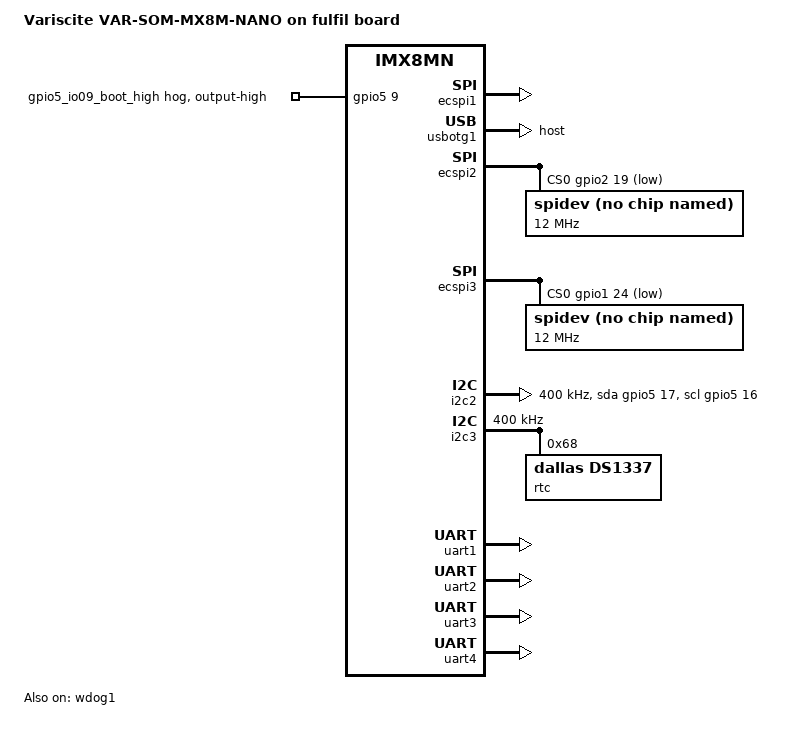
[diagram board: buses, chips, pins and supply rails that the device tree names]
/dts-v1/;

#include <dt-bindings/usb/pd.h>
#include "imx8mn-var-som.dtsi"

/ {
	model = "Variscite VAR-SOM-MX8M-NANO on fulfil board";
	compatible = "variscite,var-som-mx8mn", "fsl,imx8mn";

	imx8mn-cm7 {
		compatible = "fsl,imx8mn-cm7";
		rsc-da = <0x40000000>;
		mbox-names = "tx", "rx", "rxdb";
		mboxes = <&mu 0 1
				&mu 1 1
			  	&mu 3 1>;
		memory-region = <&vdev0vring0>, <&vdev0vring1>, <&vdevbuffer>, <&m_core_reserved>;
		status = "okay";
	};
	
	reserved-memory {
		m_core_reserved: m_core@0x7e000000 {
			no-map;
			reg = <0 0x7e000000 0 0x1000000>;
		};

		vdev0vring0: vdev0vring0@40000000 {
			compatible = "shared-dma-pool";
			reg = <0 0x40000000 0 0x8000>;
			no-map;
		};

		vdev0vring1: vdev0vring1@40008000 {
			compatible = "shared-dma-pool";
			reg = <0 0x40008000 0 0x8000>;
			no-map;
		};
		vdevbuffer: vdevbuffer@0x40400000 {
			compatible = "shared-dma-pool";
			reg = <0 0x40400000 0 0x100000>;
			no-map;
		};
	};
};

&iomuxc {
	pinctrl-0 = <&pinctrl_hog>;
	
	pinctrl_hog: hoggrp {
		fsl,pins = <
			MX8MN_IOMUXC_GPIO1_IO01_GPIO1_IO1		0x14
			MX8MN_IOMUXC_GPIO1_IO03_GPIO1_IO3 		0x14
			MX8MN_IOMUXC_GPIO1_IO06_GPIO1_IO6		0x14
			MX8MN_IOMUXC_GPIO1_IO07_GPIO1_IO7		0x14
			MX8MN_IOMUXC_GPIO1_IO08_GPIO1_IO8		0x14
			MX8MN_IOMUXC_GPIO1_IO10_GPIO1_IO10		0x14
			MX8MN_IOMUXC_GPIO1_IO11_GPIO1_IO11		0x14
			MX8MN_IOMUXC_GPIO1_IO12_GPIO1_IO12		0x14
			MX8MN_IOMUXC_GPIO1_IO14_GPIO1_IO14	 	0x14
			MX8MN_IOMUXC_GPIO1_IO15_GPIO1_IO15		0x14
			MX8MN_IOMUXC_SD2_DATA0_GPIO2_IO15		0x14
			MX8MN_IOMUXC_SD2_DATA1_GPIO2_IO16		0x14
			MX8MN_IOMUXC_SD2_DATA2_GPIO2_IO17		0x14
			MX8MN_IOMUXC_SAI5_RXFS_GPIO3_IO19		0x14
			MX8MN_IOMUXC_SAI5_RXC_GPIO3_IO20		0x14
			MX8MN_IOMUXC_SAI5_RXD0_GPIO3_IO21		0x14
			MX8MN_IOMUXC_SAI5_RXD1_GPIO3_IO22		0x14
			MX8MN_IOMUXC_SAI5_RXD2_GPIO3_IO23		0x14
			MX8MN_IOMUXC_SAI5_RXD3_GPIO3_IO24		0x14
			MX8MN_IOMUXC_SAI5_MCLK_GPIO3_IO25	 	0x14
			MX8MN_IOMUXC_SAI2_TXC_GPIO4_IO25		0x14
			MX8MN_IOMUXC_SAI2_TXD0_GPIO4_IO26		0x14
			MX8MN_IOMUXC_SAI2_MCLK_GPIO4_IO27		0x14
			MX8MN_IOMUXC_SAI3_RXFS_GPIO4_IO28		0x14
			MX8MN_IOMUXC_SAI3_RXC_GPIO4_IO29		0x14
			MX8MN_IOMUXC_SAI3_TXC_GPIO5_IO0			0x14
			MX8MN_IOMUXC_SAI3_TXD_GPIO5_IO1			0x14
			MX8MN_IOMUXC_SAI3_MCLK_GPIO5_IO2		0x14
			MX8MN_IOMUXC_SPDIF_TX_GPIO5_IO3		 	0x14
			MX8MN_IOMUXC_SPDIF_RX_GPIO5_IO4			0x14
			MX8MN_IOMUXC_SPDIF_EXT_CLK_GPIO5_IO5		0x14
			MX8MN_IOMUXC_ECSPI1_SS0_GPIO5_IO9		0x14
			MX8MN_IOMUXC_ECSPI2_SCLK_GPIO5_IO10		0x14
			MX8MN_IOMUXC_ECSPI2_SS0_GPIO5_IO13		0x14
			MX8MN_IOMUXC_I2C4_SCL_GPIO5_IO20		0x14
			MX8MN_IOMUXC_I2C4_SDA_GPIO5_IO21		0x14
			MX8MN_IOMUXC_UART2_RXD_GPIO5_IO24 		0x14
			MX8MN_IOMUXC_UART2_TXD_GPIO5_IO25		0x14
		//	MX8MN_IOMUXC_UART3_RXD_GPIO5_IO26		0x14
			MX8MN_IOMUXC_UART3_TXD_GPIO5_IO27		0x14
		>;
	};
	pinctrl_uart1: uart1grp {
		fsl,pins = <
			MX8MN_IOMUXC_SAI2_RXD0_UART1_DCE_RTS_B	0x140
			MX8MN_IOMUXC_SAI2_RXC_UART1_DCE_RX		0x140
			MX8MN_IOMUXC_SAI2_RXFS_UART1_DCE_TX		0x140
			MX8MN_IOMUXC_SAI2_TXFS_UART1_DCE_CTS_B	0x140
		>;
	};

	pinctrl_uart3: uart3grp {
		fsl,pins = <
			MX8MN_IOMUXC_UART3_RXD_UART3_DCE_RX		0x140
			MX8MN_IOMUXC_UART3_TXD_UART3_DCE_TX		0x140
		>;
	};

	pinctrl_uart4: uart4grp {
		fsl,pins = <
			MX8MN_IOMUXC_UART4_RXD_UART4_DCE_RX		0x140
			MX8MN_IOMUXC_UART4_TXD_UART4_DCE_TX		0x140
		>;
	};

	pinctrl_ecspi2_j17: ecspi2grp_j17 {
        fsl,pins = <
            MX8MN_IOMUXC_SD2_CLK_ECSPI2_SCLK    0x13    
            MX8MN_IOMUXC_SD2_CMD_ECSPI2_MOSI    0x13    
            MX8MN_IOMUXC_SD2_DATA3_ECSPI2_MISO	0x13   
        >;
    };

	pinctrl_ecspi3: ecspi3grp {
        fsl,pins = <
			MX8MN_IOMUXC_UART1_TXD_ECSPI3_MOSI		0x13
			MX8MN_IOMUXC_UART1_RXD_ECSPI3_SCLK		0x13
        >;
    };

	pinctrl_i2c2: i2c2grp {
		fsl,pins = <
			MX8MN_IOMUXC_I2C2_SCL_I2C2_SCL			0x400001c3
			MX8MN_IOMUXC_I2C2_SDA_I2C2_SDA			0x400001c3
		>;
	};

	pinctrl_ecspi1: ecspi1grp {
			fsl,pins = <
				MX8MN_IOMUXC_ECSPI1_SCLK_ECSPI1_SCLK		0x13
				MX8MN_IOMUXC_ECSPI1_MOSI_ECSPI1_MOSI		0x13
				MX8MN_IOMUXC_ECSPI1_MISO_ECSPI1_MISO		0x13
				MX8MN_IOMUXC_GPIO1_IO00_GPIO1_IO0		0x13
				MX8MN_IOMUXC_ENET_MDIO_GPIO1_IO17		0x13
				MX8MN_IOMUXC_SD2_RESET_B_GPIO2_IO19		0x13
				MX8MN_IOMUXC_ENET_TX_CTL_GPIO1_IO22		0x13
			>;
	};
};

&fec1{
	status = "disabled";
};

/*
gpio5_io09 is the reboot pin. This needs to drive high very early in boot to avoid a loop
*/
&gpio5 {
	pinctrl-names = "default";
	pinctrl-0 = <&pinctrl_hog>;

	gpio5_io09_high: gpio5-io09-high {
		gpio-hog;
		gpios = <9 GPIO_ACTIVE_HIGH>;
		output-high;
		line-name = "gpio5_io09_boot_high";
	};
};

&ecspi1 {
	status = "okay";
    pinctrl-names = "default";
    pinctrl-0     = <&pinctrl_ecspi1>;
	cs-gpios = <&gpio1 22 GPIO_ACTIVE_LOW>,
			<&gpio1  0 GPIO_ACTIVE_LOW>,
			<&gpio1 17 GPIO_ACTIVE_LOW>;
	/delete-node/ ads7846@0;
	/delete-node/ spidev@2;
    /*/delete-property/ dmas;
    /delete-property/ dma-names;*/
};

&usbotg1 {
	dr_mode = "host";
	picophy,pre-emp-curr-control = <3>;
	picophy,dc-vol-level-adjust = <7>;
	hnp-disable;
	srp-disable;
	adp-disable;
	extcon = <0>;
	status = "okay";
};

&ecspi2 {
    pinctrl-names = "default";
    pinctrl-0 = <&pinctrl_ecspi2_j17>;
	fsl,spi-num-chipselects = <1>;
	cs-gpios = <&gpio2 19 GPIO_ACTIVE_LOW>;
    status = "okay";
    /* Test SPI device */
    spidev@0 {
        reg = <0>;
        compatible = "var,spidev";
        spi-max-frequency = <12000000>;
        status = "okay";
    };
};

&ecspi3 {
	pinctrl-names = "default";
	pinctrl-0 = <&pinctrl_ecspi3>;
	status = "okay";
	fsl,spi-num-chipselects = <1>;
	cs-gpios = <&gpio1  24 GPIO_ACTIVE_LOW>;

	// LEDS
	spidev@0 {
		reg = <0>;
		compatible = "var,spidev";
		spi-max-frequency = <12000000>;
		status = "okay";
	};
};

&mipi_csi_1 {
	// DISABLED to avoid conflict because pinctrl_ecspi2_j17 reports ECSPI2_MISO which is in use by pinctrl_csi1
	status = "disabled";
};

&mipi_dsi {
	status = "disabled";
};

&i2c1 {
	clock-frequency = <400000>;
	status = "disabled";
};

&i2c2 {
	clock-frequency = <400000>;
	pinctrl-names = "default";
	pinctrl-0 = <&pinctrl_i2c2>;
	scl-gpios = <&gpio5 16 GPIO_ACTIVE_HIGH>;
	sda-gpios = <&gpio5 17 GPIO_ACTIVE_HIGH>;
	status = "okay";
};
&i2c3 {
	status = "okay";
	clock-frequency = <400000>;

	/* DS1337 RTC module */
	rtc@68 {
		status = "okay";
		compatible = "dallas,ds1337";
		reg = <0x68>;
	};

	wm8904: audio-codec@1a {
		status = "disabled";
	};
};

&i2c4 {
	status = "disabled";
};

&sai5 {
	status = "disabled";
};

&sdma1{
	status = "okay";
};

/* Header */
&uart1 {
	pinctrl-names = "default";
	pinctrl-0 = <&pinctrl_uart1>;
	status = "okay";
};

&uart2 {
	status = "okay";
};
&uart3 {
	pinctrl-names = "default";
	pinctrl-0 = <&pinctrl_uart3>;
        status = "okay";
};

/* Console */
&uart4 {
	pinctrl-names = "default";
	pinctrl-0 = <&pinctrl_uart4>;
	status = "okay";
	/delete-property/ dmas;
	/delete-property/ dma-names;
};

&wdog1 {
	status = "okay";
};
